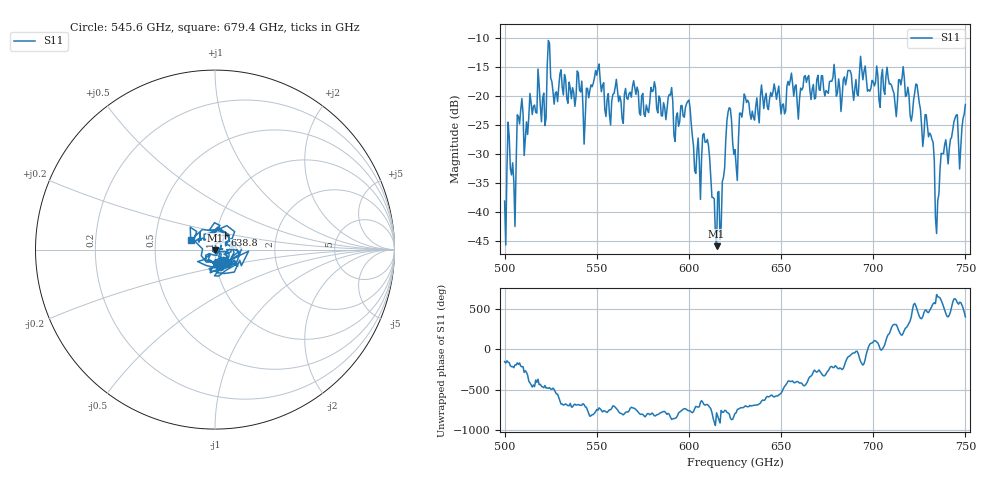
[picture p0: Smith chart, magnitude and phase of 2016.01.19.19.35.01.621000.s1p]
!Created with skrf (http://scikit-rf.org).
# GHz S RI R 50.0
!freq ReS11 ImS11
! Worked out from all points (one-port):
!   401 points, 500 GHz to 750 GHz, reference 50 ohm
!   lowest |S11| = -45.9 dB at 615 GHz (marker M1), VSWR 1.01, Z = 50.2 - j0.458 ohm
!   |S11| at or under -10 dB: start of sweep to end of sweep
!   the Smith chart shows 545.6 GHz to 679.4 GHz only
!   S11 on the Smith chart (normalised r, x): 545.6 GHz: 1.04, -0.19; 638.8 GHz: 1.10, +0.18; 679.4 GHz: 0.76, +0.08
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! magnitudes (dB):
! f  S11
! 500 GHz  -38.2
! 502.5 GHz  -27.0
! 505 GHz  -34.8
! 508.1 GHz  -24.9
! 521.2 GHz  -19.6
! 524.4 GHz  -11.0
! 531.2 GHz  -18.6
! 545.6 GHz  -20.4
! 562.5 GHz  -20.1
! 580.6 GHz  -19.2
! 593.8 GHz  -23.0
! 599.4 GHz  -21.0
! 605 GHz  -27.3
! 609.4 GHz  -28.0
! 615 GHz  -45.9
! 618.1 GHz  -34.8
! 621.9 GHz  -22.1
! 625 GHz  -29.3
! 630.6 GHz  -20.2
! 638.8 GHz  -20.2
! 656.2 GHz  -17.9
! 679.4 GHz  -16.7
! 687.5 GHz  -15.7
! 718.8 GHz  -18.6
! 729.4 GHz  -25.3
! 735 GHz  -38.0
! 738.1 GHz  -30.0
! 750 GHz  -21.5
